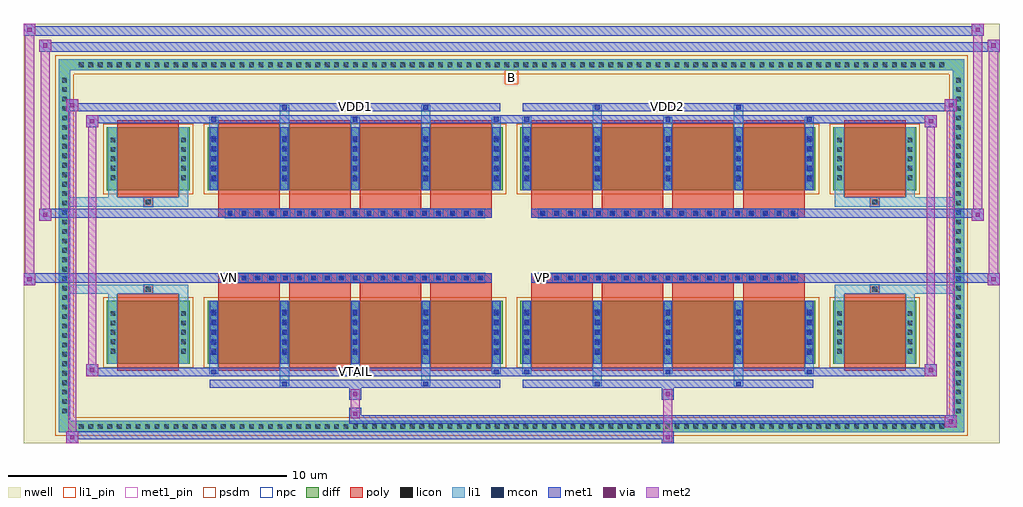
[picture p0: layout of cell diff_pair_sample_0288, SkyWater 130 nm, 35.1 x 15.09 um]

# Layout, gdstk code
import gdstk
lib = gdstk.Library(unit=1e-6, precision=5e-09)
def R(c, l, rs):  # rectangles x0, y0, x1, y1
    for r in rs: c.add(gdstk.rectangle(r[:2], r[2:], *l))
def A(c, l, x, y, w, h, nx, ny, dx, dy):  # array of equal rectangles
    R(c, l, [(x+i*dx, y+j*dy, x+i*dx+w, y+j*dy+h) for i in range(nx) for j in range(ny)])
def P(c, l, *ps):  # polygons
    for p in ps: c.add(gdstk.Polygon(p, *l))
nwell = (64, 20)
diff = (65, 20)
poly = (66, 20)
licon = (66, 44)
li1_pin = (67, 16)
li1 = (67, 20)
mcon = (67, 44)
met1_pin = (68, 16)
met1 = (68, 20)
via = (68, 44)
met2 = (69, 20)
psdm = (94, 20)
npc = (95, 20)

diff_pair_sample_0288 = lib.new_cell('diff_pair_sample_0288')
R(diff_pair_sample_0288, nwell, [(-17.55,-7.11,17.55,7.98), (-14.87,-5.3,-0.01,-0.8), (0.01,-5.3,14.87,-0.8), (-14.87,0.8,-0.01,5.3), (0.01,0.8,14.87,5.3)])
A(diff_pair_sample_0288, diff, -15.675, -6.71, 0.41, 0.41, 92, 2, 0.34, 13.01)
A(diff_pair_sample_0288, diff, -16.28, -6.155, 0.41, 0.41, 1, 36, 0, 0.34)
A(diff_pair_sample_0288, diff, 15.87, -6.155, 0.41, 0.41, 1, 36, 0, 0.34)
R(diff_pair_sample_0288, diff, [(-15.675,-6.71,15.675,-6.3), (-16.28,-6.155,-15.87,6.155), (15.87,-6.155,16.28,6.155), (-14.56,-4.255,-11.57,-1.985), (-10.93,-4.255,-0.32,-1.985), (0.32,-4.255,10.93,-1.985), (11.57,-4.255,14.56,-1.985), (-14.56,1.985,-11.57,4.255), (-10.93,1.985,-0.32,4.255), (0.32,1.985,10.93,4.255), (11.57,1.985,14.56,4.255), (-15.675,6.3,15.675,6.71)])
P(diff_pair_sample_0288, diff, [(16.28,6.71),(-16.28,6.71),(-16.28,-6.3),(-15.87,-6.3),(-15.87,6.3),(15.87,6.3),(15.87,-6.3),(-15.87,-6.3),(-16.28,-6.3),(-16.28,-6.71),(16.28,-6.71)])
A(diff_pair_sample_0288, poly, -10.54, -4.505, 2.21, 2.77, 4, 2, 2.54, 6.24)
A(diff_pair_sample_0288, poly, 0.71, -4.505, 2.21, 2.77, 4, 2, 2.54, 6.24)
A(diff_pair_sample_0288, poly, -10.54, -1.735, 2.21, 0.405, 4, 2, 2.54, 3.065)
A(diff_pair_sample_0288, poly, 0.71, -1.735, 2.21, 0.405, 4, 2, 2.54, 3.065)
A(diff_pair_sample_0288, poly, -10.29, -1.33, 0.33, 0.33, 19, 2, 0.5, 2.33)
A(diff_pair_sample_0288, poly, 0.96, -1.33, 0.33, 0.33, 19, 2, 0.5, 2.33)
R(diff_pair_sample_0288, poly, [(-14.17,-4.505,-11.96,-1.735), (11.96,-4.505,14.17,-1.735), (-13.23,-1.735,-12.9,-1.405), (-13.23,-1.735,-12.9,-1.405), (12.9,-1.735,13.23,-1.405), (12.9,-1.735,13.23,-1.405), (-10.54,-1.33,-0.71,-1), (0.71,-1.33,10.54,-1), (-10.54,1,-0.71,1.33), (0.71,1,10.54,1.33), (-13.23,1.405,-12.9,1.735), (-13.23,1.405,-12.9,1.735), (12.9,1.405,13.23,1.735), (12.9,1.405,13.23,1.735), (-14.17,1.735,-11.96,4.505), (11.96,1.735,14.17,4.505)])
A(diff_pair_sample_0288, licon, -15.555, -6.59, 0.17, 0.17, 92, 2, 0.34, 13.01)
A(diff_pair_sample_0288, licon, -16.16, -6.035, 0.17, 0.17, 1, 36, 0, 0.34)
A(diff_pair_sample_0288, licon, 15.99, -6.035, 0.17, 0.17, 1, 36, 0, 0.34)
A(diff_pair_sample_0288, licon, -14.42, -3.885, 0.17, 0.17, 1, 5, 0, 0.34)
A(diff_pair_sample_0288, licon, -11.88, -3.885, 0.17, 0.17, 1, 5, 0, 0.34)
A(diff_pair_sample_0288, licon, -10.79, -3.885, 0.17, 0.17, 5, 5, 2.54, 0.34)
A(diff_pair_sample_0288, licon, 0.46, -3.885, 0.17, 0.17, 5, 5, 2.54, 0.34)
A(diff_pair_sample_0288, licon, 11.71, -3.885, 0.17, 0.17, 1, 5, 0, 0.34)
A(diff_pair_sample_0288, licon, 14.25, -3.885, 0.17, 0.17, 1, 5, 0, 0.34)
A(diff_pair_sample_0288, licon, -10.21, -1.25, 0.17, 0.17, 19, 2, 0.5, 2.33)
A(diff_pair_sample_0288, licon, 1.04, -1.25, 0.17, 0.17, 19, 2, 0.5, 2.33)
A(diff_pair_sample_0288, licon, -14.42, 2.355, 0.17, 0.17, 1, 5, 0, 0.34)
A(diff_pair_sample_0288, licon, -11.88, 2.355, 0.17, 0.17, 1, 5, 0, 0.34)
A(diff_pair_sample_0288, licon, -10.79, 2.355, 0.17, 0.17, 5, 5, 2.54, 0.34)
A(diff_pair_sample_0288, licon, 0.46, 2.355, 0.17, 0.17, 5, 5, 2.54, 0.34)
A(diff_pair_sample_0288, licon, 11.71, 2.355, 0.17, 0.17, 1, 5, 0, 0.34)
A(diff_pair_sample_0288, licon, 14.25, 2.355, 0.17, 0.17, 1, 5, 0, 0.34)
R(diff_pair_sample_0288, licon, [(-13.15,-1.655,-12.98,-1.485), (12.98,-1.655,13.15,-1.485), (-13.15,1.485,-12.98,1.655), (12.98,1.485,13.15,1.655)])
R(diff_pair_sample_0288, li1_pin, [(-0.25,5.8,0.25,6.3)])
A(diff_pair_sample_0288, li1, -15.635, -6.67, 0.33, 0.33, 92, 2, 0.34, 13.01)
A(diff_pair_sample_0288, li1, -16.24, -6.115, 0.33, 0.33, 1, 36, 0, 0.34)
A(diff_pair_sample_0288, li1, 15.91, -6.115, 0.33, 0.33, 1, 36, 0, 0.34)
A(diff_pair_sample_0288, li1, -10.87, -4.63, 0.33, 0.375, 3, 2, 5.08, 8.885)
A(diff_pair_sample_0288, li1, -10.79, -4.63, 0.17, 0.17, 3, 2, 5.08, 9.09)
A(diff_pair_sample_0288, li1, 0.38, -4.63, 0.33, 0.375, 3, 2, 5.08, 8.885)
A(diff_pair_sample_0288, li1, 0.46, -4.63, 0.17, 0.17, 3, 2, 5.08, 9.09)
A(diff_pair_sample_0288, li1, -10.87, -4.255, 0.33, 2.27, 5, 2, 2.54, 6.24)
A(diff_pair_sample_0288, li1, 0.38, -4.255, 0.33, 2.27, 5, 2, 2.54, 6.24)
A(diff_pair_sample_0288, li1, -14.5, -3.965, 0.33, 0.33, 1, 5, 0, 0.34)
A(diff_pair_sample_0288, li1, -11.96, -3.965, 0.33, 0.33, 1, 5, 0, 0.34)
A(diff_pair_sample_0288, li1, -10.87, -3.965, 0.33, 0.33, 5, 5, 2.54, 0.34)
A(diff_pair_sample_0288, li1, 0.38, -3.965, 0.33, 0.33, 5, 5, 2.54, 0.34)
A(diff_pair_sample_0288, li1, 11.63, -3.965, 0.33, 0.33, 1, 5, 0, 0.34)
A(diff_pair_sample_0288, li1, 14.17, -3.965, 0.33, 0.33, 1, 5, 0, 0.34)
A(diff_pair_sample_0288, li1, -10.79, -3.925, 0.17, 0.17, 5, 5, 2.54, 0.36)
A(diff_pair_sample_0288, li1, -10.79, -3.925, 0.17, 1.61, 5, 2, 2.54, 6.24)
A(diff_pair_sample_0288, li1, 0.46, -3.925, 0.17, 0.17, 5, 5, 2.54, 0.36)
A(diff_pair_sample_0288, li1, 0.46, -3.925, 0.17, 1.61, 5, 2, 2.54, 6.24)
A(diff_pair_sample_0288, li1, -10.29, -1.33, 0.33, 0.33, 19, 2, 0.5, 2.33)
A(diff_pair_sample_0288, li1, 0.96, -1.33, 0.33, 0.33, 19, 2, 0.5, 2.33)
A(diff_pair_sample_0288, li1, -14.5, 2.275, 0.33, 0.33, 1, 5, 0, 0.34)
A(diff_pair_sample_0288, li1, -11.96, 2.275, 0.33, 0.33, 1, 5, 0, 0.34)
A(diff_pair_sample_0288, li1, -10.87, 2.275, 0.33, 0.33, 5, 5, 2.54, 0.34)
A(diff_pair_sample_0288, li1, 0.38, 2.275, 0.33, 0.33, 5, 5, 2.54, 0.34)
A(diff_pair_sample_0288, li1, 11.63, 2.275, 0.33, 0.33, 1, 5, 0, 0.34)
A(diff_pair_sample_0288, li1, 14.17, 2.275, 0.33, 0.33, 1, 5, 0, 0.34)
A(diff_pair_sample_0288, li1, -10.79, 2.315, 0.17, 0.17, 5, 5, 2.54, 0.36)
A(diff_pair_sample_0288, li1, 0.46, 2.315, 0.17, 0.17, 5, 5, 2.54, 0.36)
R(diff_pair_sample_0288, li1, [(-16.28,-6.71,-15.87,-6.3), (-16.28,-6.71,-15.87,-6.3), (-15.87,-6.71,15.87,-6.3), (15.87,-6.71,16.28,-6.3), (15.87,-6.71,16.28,-6.3), (-16.28,-6.3,-15.87,6.3), (15.87,-6.3,16.28,6.3), (-8.33,-5.06,-8,-4.255), (-8.25,-5.06,-8.08,-4.89), (-3.25,-5.06,-2.92,-4.255), (-3.17,-5.06,-3,-4.89), (2.92,-5.06,3.25,-4.255), (3,-5.06,3.17,-4.89), (8,-5.06,8.33,-4.255), (8.08,-5.06,8.25,-4.89), (-14.5,-4.255,-14.17,-1.985), (-11.96,-4.255,-11.63,-1.985), (11.63,-4.255,11.96,-1.985), (14.17,-4.255,14.5,-1.985), (-14.5,-1.985,-14.17,-1.405), (-11.96,-1.985,-11.63,-1.405), (11.63,-1.985,11.96,-1.405), (14.17,-1.985,14.5,-1.405), (-16.28,-1.735,-13.23,-1.405), (-14.5,-1.735,-13.23,-1.405), (-13.23,-1.735,-12.9,-1.405), (-12.9,-1.735,-11.63,-1.405), (11.63,-1.735,12.9,-1.405), (12.9,-1.735,13.23,-1.405), (12.9,-1.735,16.28,-1.405), (13.23,-1.735,14.5,-1.405), (-16.28,1.405,-13.23,1.735), (-14.5,1.405,-13.23,1.735), (-14.5,1.405,-14.17,1.985), (-13.23,1.405,-12.9,1.735), (-12.9,1.405,-11.63,1.735), (-11.96,1.405,-11.63,1.985), (11.63,1.405,12.9,1.735), (11.63,1.405,11.96,1.985), (12.9,1.405,13.23,1.735), (12.9,1.405,16.28,1.735), (13.23,1.405,14.5,1.735), (14.17,1.405,14.5,1.985), (-14.5,1.985,-14.17,4.255), (-11.96,1.985,-11.63,4.255), (11.63,1.985,11.96,4.255), (14.17,1.985,14.5,4.255), (-8.33,4.255,-8,5.06), (-3.25,4.255,-2.92,5.06), (2.92,4.255,3.25,5.06), (8,4.255,8.33,5.06), (-8.25,4.89,-8.08,5.06), (-3.17,4.89,-3,5.06), (3,4.89,3.17,5.06), (8.08,4.89,8.25,5.06), (-16.28,6.3,-15.87,6.71), (-16.28,6.3,-15.87,6.71), (-15.87,6.3,15.87,6.71), (15.87,6.3,16.28,6.71), (15.87,6.3,16.28,6.71)])
A(diff_pair_sample_0288, mcon, -10.79, -4.63, 0.17, 0.17, 3, 2, 5.08, 9.09)
A(diff_pair_sample_0288, mcon, 0.46, -4.63, 0.17, 0.17, 3, 2, 5.08, 9.09)
A(diff_pair_sample_0288, mcon, -10.79, -3.925, 0.17, 0.17, 5, 5, 2.54, 0.36)
A(diff_pair_sample_0288, mcon, 0.46, -3.925, 0.17, 0.17, 5, 5, 2.54, 0.36)
A(diff_pair_sample_0288, mcon, -10.21, -1.25, 0.17, 0.17, 19, 2, 0.5, 2.33)
A(diff_pair_sample_0288, mcon, 1.04, -1.25, 0.17, 0.17, 19, 2, 0.5, 2.33)
A(diff_pair_sample_0288, mcon, -10.79, 2.315, 0.17, 0.17, 5, 5, 2.54, 0.36)
A(diff_pair_sample_0288, mcon, 0.46, 2.315, 0.17, 0.17, 5, 5, 2.54, 0.36)
R(diff_pair_sample_0288, mcon, [(-8.25,-5.06,-8.08,-4.89), (-3.17,-5.06,-3,-4.89), (3,-5.06,3.17,-4.89), (8.08,-5.06,8.25,-4.89), (-8.25,4.89,-8.08,5.06), (-3.17,4.89,-3,5.06), (3,4.89,3.17,5.06), (8.08,4.89,8.25,5.06)])
R(diff_pair_sample_0288, met1_pin, [(-5.76,-4.67,-5.49,-4.4), (-10.26,-1.29,-9.99,-1.02), (0.99,-1.29,1.26,-1.02), (-5.76,4.85,-5.49,5.12), (5.49,4.85,5.76,5.12)])
A(diff_pair_sample_0288, met1, -10.85, -4.69, 0.29, 0.29, 3, 2, 5.08, 9.09)
A(diff_pair_sample_0288, met1, 0.4, -4.69, 0.29, 0.29, 3, 2, 5.08, 9.09)
A(diff_pair_sample_0288, met1, -10.85, -4.255, 0.29, 2.27, 5, 2, 2.54, 6.24)
A(diff_pair_sample_0288, met1, 0.4, -4.255, 0.29, 2.27, 5, 2, 2.54, 6.24)
A(diff_pair_sample_0288, met1, -10.85, -3.985, 0.29, 0.29, 5, 5, 2.54, 0.36)
A(diff_pair_sample_0288, met1, 0.4, -3.985, 0.29, 0.29, 5, 5, 2.54, 0.36)
A(diff_pair_sample_0288, met1, -10.27, -1.31, 0.29, 0.29, 19, 2, 0.5, 2.33)
A(diff_pair_sample_0288, met1, 0.98, -1.31, 0.29, 0.29, 19, 2, 0.5, 2.33)
A(diff_pair_sample_0288, met1, -10.85, 2.255, 0.29, 0.29, 5, 5, 2.54, 0.36)
A(diff_pair_sample_0288, met1, 0.4, 2.255, 0.29, 0.29, 5, 5, 2.54, 0.36)
R(diff_pair_sample_0288, met1, [(-16.01,-7.11,-15.58,-6.68), (5.41,-7.11,5.84,-6.68), (-16.01,-6.97,5.84,-6.68), (15.58,-6.54,16.01,-6.11), (-5.84,-6.4,16.01,-6.11), (-5.84,-6.26,-5.41,-5.83), (-5.84,-5.55,-5.41,-5.12), (5.41,-5.55,5.84,-5.12), (-10.85,-5.12,-0.4,-4.83), (-8.31,-5.12,-8.02,-4.83), (-3.23,-5.12,-2.94,-4.83), (0.4,-5.12,10.85,-4.83), (2.94,-5.12,3.23,-4.83), (8.02,-5.12,8.31,-4.83), (-15.3,-4.69,-14.87,-4.26), (-15.3,-4.69,-10.85,-4.4), (-10.85,-4.69,-0.4,-4.4), (-0.4,-4.69,0.4,-4.4), (0.4,-4.69,10.85,-4.4), (10.85,-4.69,15.3,-4.4), (14.87,-4.69,15.3,-4.26), (-17.55,-1.43,-17.12,-1), (17.12,-1.43,17.55,-1), (-17.55,-1.33,-0.71,-1), (-10.54,-1.33,-0.71,-1), (0.71,-1.33,10.54,-1), (0.71,-1.33,17.55,-1), (-16.98,0.9,-16.55,1.33), (16.55,0.9,16.98,1.33), (-16.98,1,-10.54,1.33), (-10.54,1,-0.71,1.33), (0.71,1,10.54,1.33), (10.54,1,16.98,1.33), (-15.3,4.26,-14.87,4.69), (14.87,4.26,15.3,4.69), (-15.3,4.4,-10.85,4.69), (-10.85,4.4,-0.4,4.69), (-0.4,4.4,0.4,4.69), (0.4,4.4,10.85,4.69), (10.85,4.4,15.3,4.69), (-16.01,4.83,-15.58,5.26), (-16.01,4.83,-10.85,5.12), (-10.85,4.83,-0.4,5.12), (-8.31,4.83,-8.02,5.12), (-3.23,4.83,-2.94,5.12), (0.4,4.83,10.85,5.12), (2.94,4.83,3.23,5.12), (8.02,4.83,8.31,5.12), (10.85,4.83,16.01,5.12), (15.58,4.83,16.01,5.26), (-16.98,6.98,-16.55,7.41), (-16.98,6.98,-14.87,7.31), (-14.87,6.98,14.87,7.31), (14.87,6.98,17.55,7.31), (17.12,6.98,17.55,7.41), (-17.55,7.55,-17.12,7.98), (-17.55,7.55,-14.87,7.88), (-14.87,7.55,14.87,7.88), (14.87,7.55,16.98,7.88), (16.55,7.55,16.98,7.98)])
R(diff_pair_sample_0288, via, [(-15.87,-6.97,-15.72,-6.82), (5.55,-6.97,5.7,-6.82), (15.72,-6.4,15.87,-6.25), (-5.7,-6.12,-5.55,-5.97), (-5.7,-5.41,-5.55,-5.26), (5.55,-5.41,5.7,-5.26), (-15.16,-4.55,-15.01,-4.4), (15.01,-4.55,15.16,-4.4), (-17.41,-1.29,-17.26,-1.14), (17.26,-1.29,17.41,-1.14), (-16.84,1.04,-16.69,1.19), (16.69,1.04,16.84,1.19), (-15.16,4.4,-15.01,4.55), (15.01,4.4,15.16,4.55), (-15.87,4.97,-15.72,5.12), (15.72,4.97,15.87,5.12), (-16.84,7.12,-16.69,7.27), (17.26,7.12,17.41,7.27), (-17.41,7.69,-17.26,7.84), (16.69,7.69,16.84,7.84)])
R(diff_pair_sample_0288, met2, [(-16.01,-7.11,-15.58,-6.68), (-15.94,-7.11,-15.65,5.26), (-15.65,-7.11,-15.58,-6.68), (-15.96,-7.06,-15.63,-6.73), (5.46,-7.06,5.79,-6.73), (5.46,-6.73,5.79,-5.5), (15.58,-6.54,16.01,-6.11), (15.65,-6.54,15.94,5.26), (15.94,-6.54,16.01,-6.11), (15.63,-6.49,15.96,-6.16), (-5.79,-6.21,-5.46,-5.88), (-5.79,-5.88,-5.46,-5.5), (-5.79,-5.5,-5.46,-5.17), (5.46,-5.5,5.79,-5.17), (-15.3,-4.69,-14.87,-4.26), (-15.23,-4.69,-14.94,4.69), (-14.94,-4.69,-14.87,-4.26), (14.87,-4.69,15.3,-4.26), (14.94,-4.69,15.23,4.69), (15.23,-4.69,15.3,-4.26), (-15.25,-4.64,-14.92,-4.31), (14.92,-4.64,15.25,-4.31), (-17.55,-1.43,-17.12,-1), (-17.5,-1.43,-17.17,7.98), (-17.17,-1.43,-17.12,-1), (17.12,-1.43,17.55,-1), (17.17,-1.43,17.5,7.41), (17.5,-1.43,17.55,-1), (-17.5,-1.38,-17.17,-1.05), (17.17,-1.38,17.5,-1.05), (-16.98,0.9,-16.55,1.33), (-16.93,0.9,-16.6,7.41), (-16.6,0.9,-16.55,1.33), (16.55,0.9,16.98,1.33), (16.6,0.9,16.93,7.98), (16.93,0.9,16.98,1.33), (-16.93,0.95,-16.6,1.28), (16.6,0.95,16.93,1.28), (-15.3,4.26,-14.87,4.69), (-14.94,4.26,-14.87,4.69), (14.87,4.26,15.3,4.69), (15.23,4.26,15.3,4.69), (-15.25,4.31,-14.92,4.64), (14.92,4.31,15.25,4.64), (-16.01,4.83,-15.58,5.26), (-15.65,4.83,-15.58,5.26), (15.58,4.83,16.01,5.26), (15.94,4.83,16.01,5.26), (-15.96,4.88,-15.63,5.21), (15.63,4.88,15.96,5.21), (-16.98,6.98,-16.55,7.41), (-16.6,6.98,-16.55,7.41), (17.12,6.98,17.55,7.41), (17.5,6.98,17.55,7.41), (-16.93,7.03,-16.6,7.36), (17.17,7.03,17.5,7.36), (-17.55,7.55,-17.12,7.98), (-17.17,7.55,-17.12,7.98), (16.55,7.55,16.98,7.98), (16.93,7.55,16.98,7.98), (-17.5,7.6,-17.17,7.93), (16.6,7.6,16.93,7.93)])
R(diff_pair_sample_0288, psdm, [(-14.69,-4.385,-11.44,-1.855), (-11.06,-4.385,-0.19,-1.855), (0.19,-4.385,11.06,-1.855), (11.44,-4.385,14.69,-1.855), (-14.69,1.855,-11.44,4.385), (-11.06,1.855,-0.19,4.385), (0.19,1.855,11.06,4.385), (11.44,1.855,14.69,4.385)])
P(diff_pair_sample_0288, psdm, [(16.41,6.84),(-16.41,6.84),(-16.41,-6.17),(-15.74,-6.17),(-15.74,6.17),(15.74,6.17),(15.74,-6.17),(-15.74,-6.17),(-16.41,-6.17),(-16.41,-6.84),(16.41,-6.84)])
A(diff_pair_sample_0288, npc, -10.31, -1.35, 0.37, 0.37, 19, 2, 0.5, 2.33)
A(diff_pair_sample_0288, npc, 0.94, -1.35, 0.37, 0.37, 19, 2, 0.5, 2.33)
R(diff_pair_sample_0288, npc, [(-13.25,-1.755,-12.88,-1.385), (12.88,-1.755,13.25,-1.385), (-10.31,-1.35,-9.44,-0.98), (-10.31,-1.35,-9.44,-0.98), (-9.81,-1.35,-8.94,-0.98), (-9.81,-1.35,-8.94,-0.98), (-9.31,-1.35,-8.44,-0.98), (-9.31,-1.35,-8.44,-0.98), (-8.81,-1.35,-7.94,-0.98), (-8.81,-1.35,-7.94,-0.98), (-8.31,-1.35,-7.44,-0.98), (-8.31,-1.35,-7.44,-0.98), (-7.81,-1.35,-6.94,-0.98), (-7.81,-1.35,-6.94,-0.98), (-7.31,-1.35,-6.44,-0.98), (-7.31,-1.35,-6.44,-0.98), (-6.81,-1.35,-5.94,-0.98), (-6.81,-1.35,-5.94,-0.98), (-6.31,-1.35,-5.44,-0.98), (-6.31,-1.35,-5.44,-0.98), (-5.81,-1.35,-4.94,-0.98), (-5.81,-1.35,-4.94,-0.98), (-5.31,-1.35,-4.44,-0.98), (-5.31,-1.35,-4.44,-0.98), (-4.81,-1.35,-3.94,-0.98), (-4.81,-1.35,-3.94,-0.98), (-4.31,-1.35,-3.44,-0.98), (-4.31,-1.35,-3.44,-0.98), (-3.81,-1.35,-2.94,-0.98), (-3.81,-1.35,-2.94,-0.98), (-3.31,-1.35,-2.44,-0.98), (-3.31,-1.35,-2.44,-0.98), (-2.81,-1.35,-1.94,-0.98), (-2.81,-1.35,-1.94,-0.98), (-2.31,-1.35,-1.44,-0.98), (-2.31,-1.35,-1.44,-0.98), (-1.81,-1.35,-0.94,-0.98), (-1.81,-1.35,-0.94,-0.98), (0.94,-1.35,1.81,-0.98), (0.94,-1.35,1.81,-0.98), (1.44,-1.35,2.31,-0.98), (1.44,-1.35,2.31,-0.98), (1.94,-1.35,2.81,-0.98), (1.94,-1.35,2.81,-0.98), (2.44,-1.35,3.31,-0.98), (2.44,-1.35,3.31,-0.98), (2.94,-1.35,3.81,-0.98), (2.94,-1.35,3.81,-0.98), (3.44,-1.35,4.31,-0.98), (3.44,-1.35,4.31,-0.98), (3.94,-1.35,4.81,-0.98), (3.94,-1.35,4.81,-0.98), (4.44,-1.35,5.31,-0.98), (4.44,-1.35,5.31,-0.98), (4.94,-1.35,5.81,-0.98), (4.94,-1.35,5.81,-0.98), (5.44,-1.35,6.31,-0.98), (5.44,-1.35,6.31,-0.98), (5.94,-1.35,6.81,-0.98), (5.94,-1.35,6.81,-0.98), (6.44,-1.35,7.31,-0.98), (6.44,-1.35,7.31,-0.98), (6.94,-1.35,7.81,-0.98), (6.94,-1.35,7.81,-0.98), (7.44,-1.35,8.31,-0.98), (7.44,-1.35,8.31,-0.98), (7.94,-1.35,8.81,-0.98), (7.94,-1.35,8.81,-0.98), (8.44,-1.35,9.31,-0.98), (8.44,-1.35,9.31,-0.98), (8.94,-1.35,9.81,-0.98), (8.94,-1.35,9.81,-0.98), (9.44,-1.35,10.31,-0.98), (9.44,-1.35,10.31,-0.98), (-10.31,0.98,-9.44,1.35), (-10.31,0.98,-9.44,1.35), (-9.81,0.98,-8.94,1.35), (-9.81,0.98,-8.94,1.35), (-9.31,0.98,-8.44,1.35), (-9.31,0.98,-8.44,1.35), (-8.81,0.98,-7.94,1.35), (-8.81,0.98,-7.94,1.35), (-8.31,0.98,-7.44,1.35), (-8.31,0.98,-7.44,1.35), (-7.81,0.98,-6.94,1.35), (-7.81,0.98,-6.94,1.35), (-7.31,0.98,-6.44,1.35), (-7.31,0.98,-6.44,1.35), (-6.81,0.98,-5.94,1.35), (-6.81,0.98,-5.94,1.35), (-6.31,0.98,-5.44,1.35), (-6.31,0.98,-5.44,1.35), (-5.81,0.98,-4.94,1.35), (-5.81,0.98,-4.94,1.35), (-5.31,0.98,-4.44,1.35), (-5.31,0.98,-4.44,1.35), (-4.81,0.98,-3.94,1.35), (-4.81,0.98,-3.94,1.35), (-4.31,0.98,-3.44,1.35), (-4.31,0.98,-3.44,1.35), (-3.81,0.98,-2.94,1.35), (-3.81,0.98,-2.94,1.35), (-3.31,0.98,-2.44,1.35), (-3.31,0.98,-2.44,1.35), (-2.81,0.98,-1.94,1.35), (-2.81,0.98,-1.94,1.35), (-2.31,0.98,-1.44,1.35), (-2.31,0.98,-1.44,1.35), (-1.81,0.98,-0.94,1.35), (-1.81,0.98,-0.94,1.35), (0.94,0.98,1.81,1.35), (0.94,0.98,1.81,1.35), (1.44,0.98,2.31,1.35), (1.44,0.98,2.31,1.35), (1.94,0.98,2.81,1.35), (1.94,0.98,2.81,1.35), (2.44,0.98,3.31,1.35), (2.44,0.98,3.31,1.35), (2.94,0.98,3.81,1.35), (2.94,0.98,3.81,1.35), (3.44,0.98,4.31,1.35), (3.44,0.98,4.31,1.35), (3.94,0.98,4.81,1.35), (3.94,0.98,4.81,1.35), (4.44,0.98,5.31,1.35), (4.44,0.98,5.31,1.35), (4.94,0.98,5.81,1.35), (4.94,0.98,5.81,1.35), (5.44,0.98,6.31,1.35), (5.44,0.98,6.31,1.35), (5.94,0.98,6.81,1.35), (5.94,0.98,6.81,1.35), (6.44,0.98,7.31,1.35), (6.44,0.98,7.31,1.35), (6.94,0.98,7.81,1.35), (6.94,0.98,7.81,1.35), (7.44,0.98,8.31,1.35), (7.44,0.98,8.31,1.35), (7.94,0.98,8.81,1.35), (7.94,0.98,8.81,1.35), (8.44,0.98,9.31,1.35), (8.44,0.98,9.31,1.35), (8.94,0.98,9.81,1.35), (8.94,0.98,9.81,1.35), (9.44,0.98,10.31,1.35), (9.44,0.98,10.31,1.35), (-13.25,1.385,-12.88,1.755), (12.88,1.385,13.25,1.755)])
diff_pair_sample_0288.add(gdstk.Label('VTAIL', (-5.625,-4.535), layer=68, texttype=5))
diff_pair_sample_0288.add(gdstk.Label('VN', (-10.125,-1.155), layer=68, texttype=5))
diff_pair_sample_0288.add(gdstk.Label('VP', (1.125,-1.155), layer=68, texttype=5))
diff_pair_sample_0288.add(gdstk.Label('B', (0,6.05), layer=67, texttype=5))
diff_pair_sample_0288.add(gdstk.Label('VDD2', (5.625,4.985), layer=68, texttype=5))
diff_pair_sample_0288.add(gdstk.Label('VDD1', (-5.625,4.985), layer=68, texttype=5))

lib.write_gds('diff_pair_sample_0288.gds')
